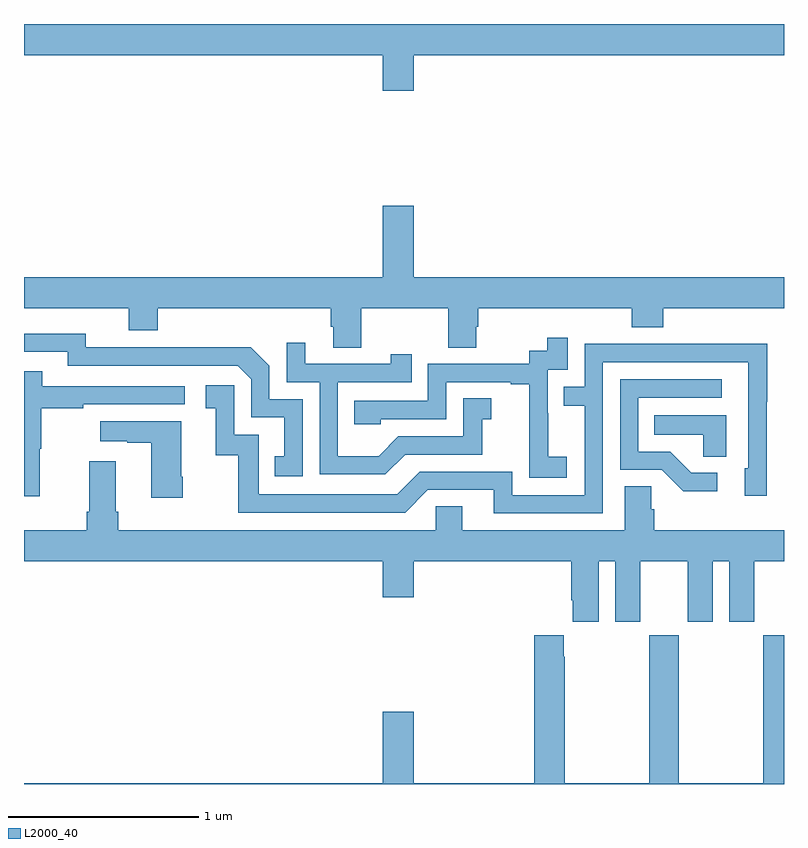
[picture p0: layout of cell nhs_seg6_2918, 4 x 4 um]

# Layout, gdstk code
import gdstk
lib = gdstk.Library(unit=1e-6, precision=1e-09)
def P(c, l, *ps):  # polygons
    for p in ps: c.add(gdstk.Polygon(p, *l))
L2000_40 = (2000, 40)

nhs_seg6_2918 = lib.new_cell('nhs_seg6_2918')
P(nhs_seg6_2918, L2000_40, [(285.052,947.336),(287,947.336),(287,947.5),(283,947.5),(283,947.336),(284.888,947.336),(284.888,947.148),(285.052,947.148)],
  [(284.775,946.004),(285.232,946.004),(285.232,945.796),(285.379,945.796),(285.379,945.906),(285.392,945.906),(285.392,946.004),(286.199,946.004),(286.199,945.905),(286.364,945.905),(286.364,946.004),(287,946.004),(287,946.168),(285.052,946.168),(285.052,946.543),(284.888,946.543),(284.888,946.168),(283,946.168),(283,946.004),(283.55,946.004),(283.55,945.887),(283.703,945.887),(283.703,946.004),(284.615,946.004),(284.615,945.906),(284.627,945.906),(284.627,945.796),(284.775,945.796)],
  [(284.466,945.525),(284.292,945.525),(284.292,945.702),(284.194,945.8),(283.786,945.8),(283.786,945.798),(283.326,945.798),(283.326,945.871),(283,945.871),(283,945.774),(283.23,945.774),(283.23,945.702),(284.124,945.702),(284.196,945.63),(284.196,945.429),(284.369,945.429),(284.369,945.225),(284.32,945.225),(284.32,945.12),(284.466,945.12)],
  [(285.856,945.223),(285.758,945.223),(285.758,945.452),(285.756,945.452),(285.756,945.681),(285.861,945.681),(285.861,945.85),(285.753,945.85),(285.753,945.78),(285.66,945.78),(285.66,945.711),(285.126,945.711),(285.126,945.516),(284.737,945.516),(284.737,945.393),(284.877,945.393),(284.877,945.42),(285.222,945.42),(285.222,945.615),(285.563,945.615),(285.563,945.603),(285.659,945.603),(285.659,945.319),(285.658,945.319),(285.658,945.113),(285.856,945.113)],
  [(285.007,945.234),(285.411,945.234),(285.411,945.419),(285.46,945.419),(285.46,945.529),(285.312,945.529),(285.312,945.33),(284.97,945.33),(284.866,945.226),(284.652,945.226),(284.652,945.615),(285.041,945.615),(285.041,945.763),(284.93,945.763),(284.93,945.711),(284.479,945.711),(284.479,945.823),(284.382,945.823),(284.382,945.615),(284.556,945.615),(284.556,945.129),(284.902,945.129)],
  [(286.047,945.72),(286.812,945.72),(286.812,945.162),(286.793,945.162),(286.793,945.018),(286.908,945.018),(286.908,945.511),(286.911,945.511),(286.911,945.818),(286.447,945.818),(286.447,945.816),(285.951,945.816),(285.951,945.591),(285.841,945.591),(285.841,945.49),(285.951,945.49),(285.951,945.021),(285.57,945.021),(285.57,945.144),(285.084,945.144),(284.964,945.024),(284.235,945.024),(284.235,945.339),(284.106,945.339),(284.106,945.598),(283.956,945.598),(283.956,945.477),(284.009,945.477),(284.009,945.231),(284.127,945.231),(284.127,944.928),(285.006,944.928),(285.126,945.048),(285.473,945.048),(285.473,944.925),(286.047,944.925)],
  [(283.082,945.264),(283.09,945.264),(283.09,945.478),(283.313,945.478),(283.313,945.498),(283.846,945.498),(283.846,945.594),(283.097,945.594),(283.097,945.673),(283,945.673),(283,945.015),(283.082,945.015)],
  [(286.648,945.138),(286.513,945.138),(286.402,945.249),(286.233,945.249),(286.233,945.534),(286.672,945.534),(286.672,945.63),(286.137,945.63),(286.137,945.153),(286.356,945.153),(286.469,945.041),(286.648,945.041)],
  [(286.696,945.442),(286.318,945.442),(286.318,945.338),(286.575,945.338),(286.575,945.223),(286.696,945.223)],
  [(283.836,945.118),(283.828,945.118),(283.828,945.409),(283.401,945.409),(283.401,945.305),(283.544,945.305),(283.544,945.295),(283.67,945.295),(283.67,945.006),(283.836,945.006)],
  [(285.307,944.963),(285.168,944.963),(285.168,944.836),(283.496,944.836),(283.496,944.932),(283.483,944.932),(283.483,945.199),(283.343,945.199),(283.343,944.932),(283.331,944.932),(283.331,944.836),(283,944.836),(283,944.672),(284.888,944.672),(284.888,944.484),(285.052,944.484),(285.052,944.672),(285.881,944.672),(285.881,944.467),(285.887,944.467),(285.887,944.355),(286.024,944.355),(286.024,944.672),(286.112,944.672),(286.112,944.355),(286.243,944.355),(286.243,944.672),(286.493,944.672),(286.493,944.355),(286.624,944.355),(286.624,944.672),(286.712,944.672),(286.712,944.355),(286.843,944.355),(286.843,944.672),(287,944.672),(287,944.836),(286.316,944.836),(286.316,944.945),(286.302,944.945),(286.302,945.068),(286.163,945.068),(286.163,944.836),(285.307,944.836)],
  [(287,944.284),(286.891,944.284),(286.891,943.504),(286.446,943.504),(286.446,944.284),(286.291,944.284),(286.291,943.504),(285.846,943.504),(285.846,944.171),(285.841,944.171),(285.841,944.284),(285.686,944.284),(285.686,943.504),(285.052,943.504),(285.052,943.879),(284.888,943.879),(284.888,943.504),(283,943.504),(283,943.5),(287,943.5)])

lib.write_gds('nhs_seg6_2918.gds')
